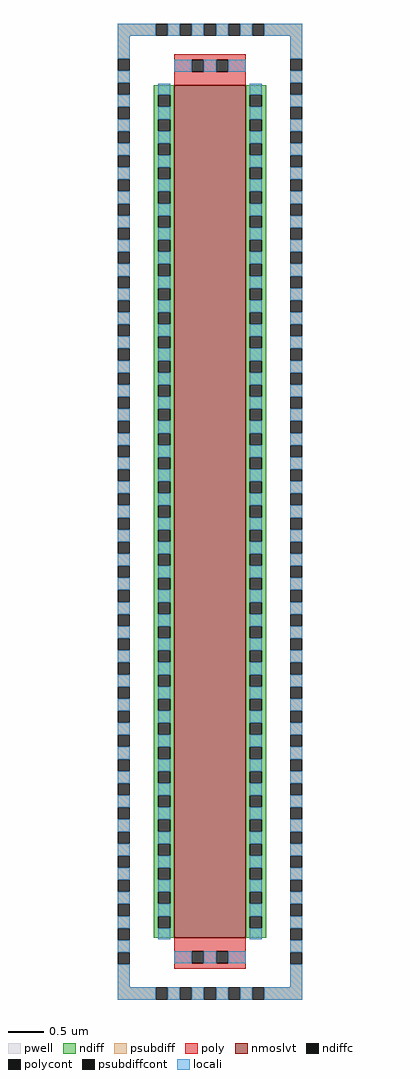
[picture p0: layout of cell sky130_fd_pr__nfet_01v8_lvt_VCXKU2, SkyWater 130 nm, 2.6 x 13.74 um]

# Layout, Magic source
magic
tech sky130A
magscale 1 2
<< pwell >>
rect -260 1340 260 1374
rect -260 -1340 -226 1340
rect 226 -1340 260 1340
rect -260 -1374 260 -1340
<< nmoslvt >>
rect -100 -1200 100 1200
<< ndiff >>
rect -158 1173 -100 1200
rect -158 1139 -146 1173
rect -112 1139 -100 1173
rect -158 1105 -100 1139
rect -158 1071 -146 1105
rect -112 1071 -100 1105
rect -158 1037 -100 1071
rect -158 1003 -146 1037
rect -112 1003 -100 1037
rect -158 969 -100 1003
rect -158 935 -146 969
rect -112 935 -100 969
rect -158 901 -100 935
rect -158 867 -146 901
rect -112 867 -100 901
rect -158 833 -100 867
rect -158 799 -146 833
rect -112 799 -100 833
rect -158 765 -100 799
rect -158 731 -146 765
rect -112 731 -100 765
rect -158 697 -100 731
rect -158 663 -146 697
rect -112 663 -100 697
rect -158 629 -100 663
rect -158 595 -146 629
rect -112 595 -100 629
rect -158 561 -100 595
rect -158 527 -146 561
rect -112 527 -100 561
rect -158 493 -100 527
rect -158 459 -146 493
rect -112 459 -100 493
rect -158 425 -100 459
rect -158 391 -146 425
rect -112 391 -100 425
rect -158 357 -100 391
rect -158 323 -146 357
rect -112 323 -100 357
rect -158 289 -100 323
rect -158 255 -146 289
rect -112 255 -100 289
rect -158 221 -100 255
rect -158 187 -146 221
rect -112 187 -100 221
rect -158 153 -100 187
rect -158 119 -146 153
rect -112 119 -100 153
rect -158 85 -100 119
rect -158 51 -146 85
rect -112 51 -100 85
rect -158 17 -100 51
rect -158 -17 -146 17
rect -112 -17 -100 17
rect -158 -51 -100 -17
rect -158 -85 -146 -51
rect -112 -85 -100 -51
rect -158 -119 -100 -85
rect -158 -153 -146 -119
rect -112 -153 -100 -119
rect -158 -187 -100 -153
rect -158 -221 -146 -187
rect -112 -221 -100 -187
rect -158 -255 -100 -221
rect -158 -289 -146 -255
rect -112 -289 -100 -255
rect -158 -323 -100 -289
rect -158 -357 -146 -323
rect -112 -357 -100 -323
rect -158 -391 -100 -357
rect -158 -425 -146 -391
rect -112 -425 -100 -391
rect -158 -459 -100 -425
rect -158 -493 -146 -459
rect -112 -493 -100 -459
rect -158 -527 -100 -493
rect -158 -561 -146 -527
rect -112 -561 -100 -527
rect -158 -595 -100 -561
rect -158 -629 -146 -595
rect -112 -629 -100 -595
rect -158 -663 -100 -629
rect -158 -697 -146 -663
rect -112 -697 -100 -663
rect -158 -731 -100 -697
rect -158 -765 -146 -731
rect -112 -765 -100 -731
rect -158 -799 -100 -765
rect -158 -833 -146 -799
rect -112 -833 -100 -799
rect -158 -867 -100 -833
rect -158 -901 -146 -867
rect -112 -901 -100 -867
rect -158 -935 -100 -901
rect -158 -969 -146 -935
rect -112 -969 -100 -935
rect -158 -1003 -100 -969
rect -158 -1037 -146 -1003
rect -112 -1037 -100 -1003
rect -158 -1071 -100 -1037
rect -158 -1105 -146 -1071
rect -112 -1105 -100 -1071
rect -158 -1139 -100 -1105
rect -158 -1173 -146 -1139
rect -112 -1173 -100 -1139
rect -158 -1200 -100 -1173
rect 100 1173 158 1200
rect 100 1139 112 1173
rect 146 1139 158 1173
rect 100 1105 158 1139
rect 100 1071 112 1105
rect 146 1071 158 1105
rect 100 1037 158 1071
rect 100 1003 112 1037
rect 146 1003 158 1037
rect 100 969 158 1003
rect 100 935 112 969
rect 146 935 158 969
rect 100 901 158 935
rect 100 867 112 901
rect 146 867 158 901
rect 100 833 158 867
rect 100 799 112 833
rect 146 799 158 833
rect 100 765 158 799
rect 100 731 112 765
rect 146 731 158 765
rect 100 697 158 731
rect 100 663 112 697
rect 146 663 158 697
rect 100 629 158 663
rect 100 595 112 629
rect 146 595 158 629
rect 100 561 158 595
rect 100 527 112 561
rect 146 527 158 561
rect 100 493 158 527
rect 100 459 112 493
rect 146 459 158 493
rect 100 425 158 459
rect 100 391 112 425
rect 146 391 158 425
rect 100 357 158 391
rect 100 323 112 357
rect 146 323 158 357
rect 100 289 158 323
rect 100 255 112 289
rect 146 255 158 289
rect 100 221 158 255
rect 100 187 112 221
rect 146 187 158 221
rect 100 153 158 187
rect 100 119 112 153
rect 146 119 158 153
rect 100 85 158 119
rect 100 51 112 85
rect 146 51 158 85
rect 100 17 158 51
rect 100 -17 112 17
rect 146 -17 158 17
rect 100 -51 158 -17
rect 100 -85 112 -51
rect 146 -85 158 -51
rect 100 -119 158 -85
rect 100 -153 112 -119
rect 146 -153 158 -119
rect 100 -187 158 -153
rect 100 -221 112 -187
rect 146 -221 158 -187
rect 100 -255 158 -221
rect 100 -289 112 -255
rect 146 -289 158 -255
rect 100 -323 158 -289
rect 100 -357 112 -323
rect 146 -357 158 -323
rect 100 -391 158 -357
rect 100 -425 112 -391
rect 146 -425 158 -391
rect 100 -459 158 -425
rect 100 -493 112 -459
rect 146 -493 158 -459
rect 100 -527 158 -493
rect 100 -561 112 -527
rect 146 -561 158 -527
rect 100 -595 158 -561
rect 100 -629 112 -595
rect 146 -629 158 -595
rect 100 -663 158 -629
rect 100 -697 112 -663
rect 146 -697 158 -663
rect 100 -731 158 -697
rect 100 -765 112 -731
rect 146 -765 158 -731
rect 100 -799 158 -765
rect 100 -833 112 -799
rect 146 -833 158 -799
rect 100 -867 158 -833
rect 100 -901 112 -867
rect 146 -901 158 -867
rect 100 -935 158 -901
rect 100 -969 112 -935
rect 146 -969 158 -935
rect 100 -1003 158 -969
rect 100 -1037 112 -1003
rect 146 -1037 158 -1003
rect 100 -1071 158 -1037
rect 100 -1105 112 -1071
rect 146 -1105 158 -1071
rect 100 -1139 158 -1105
rect 100 -1173 112 -1139
rect 146 -1173 158 -1139
rect 100 -1200 158 -1173
<< ndiffc >>
rect -146 1139 -112 1173
rect -146 1071 -112 1105
rect -146 1003 -112 1037
rect -146 935 -112 969
rect -146 867 -112 901
rect -146 799 -112 833
rect -146 731 -112 765
rect -146 663 -112 697
rect -146 595 -112 629
rect -146 527 -112 561
rect -146 459 -112 493
rect -146 391 -112 425
rect -146 323 -112 357
rect -146 255 -112 289
rect -146 187 -112 221
rect -146 119 -112 153
rect -146 51 -112 85
rect -146 -17 -112 17
rect -146 -85 -112 -51
rect -146 -153 -112 -119
rect -146 -221 -112 -187
rect -146 -289 -112 -255
rect -146 -357 -112 -323
rect -146 -425 -112 -391
rect -146 -493 -112 -459
rect -146 -561 -112 -527
rect -146 -629 -112 -595
rect -146 -697 -112 -663
rect -146 -765 -112 -731
rect -146 -833 -112 -799
rect -146 -901 -112 -867
rect -146 -969 -112 -935
rect -146 -1037 -112 -1003
rect -146 -1105 -112 -1071
rect -146 -1173 -112 -1139
rect 112 1139 146 1173
rect 112 1071 146 1105
rect 112 1003 146 1037
rect 112 935 146 969
rect 112 867 146 901
rect 112 799 146 833
rect 112 731 146 765
rect 112 663 146 697
rect 112 595 146 629
rect 112 527 146 561
rect 112 459 146 493
rect 112 391 146 425
rect 112 323 146 357
rect 112 255 146 289
rect 112 187 146 221
rect 112 119 146 153
rect 112 51 146 85
rect 112 -17 146 17
rect 112 -85 146 -51
rect 112 -153 146 -119
rect 112 -221 146 -187
rect 112 -289 146 -255
rect 112 -357 146 -323
rect 112 -425 146 -391
rect 112 -493 146 -459
rect 112 -561 146 -527
rect 112 -629 146 -595
rect 112 -697 146 -663
rect 112 -765 146 -731
rect 112 -833 146 -799
rect 112 -901 146 -867
rect 112 -969 146 -935
rect 112 -1037 146 -1003
rect 112 -1105 146 -1071
rect 112 -1173 146 -1139
<< psubdiff >>
rect -260 1340 -153 1374
rect -119 1340 -85 1374
rect -51 1340 -17 1374
rect 17 1340 51 1374
rect 85 1340 119 1374
rect 153 1340 260 1374
rect -260 1275 -226 1340
rect -260 1207 -226 1241
rect 226 1275 260 1340
rect 226 1207 260 1241
rect -260 1139 -226 1173
rect -260 1071 -226 1105
rect -260 1003 -226 1037
rect -260 935 -226 969
rect -260 867 -226 901
rect -260 799 -226 833
rect -260 731 -226 765
rect -260 663 -226 697
rect -260 595 -226 629
rect -260 527 -226 561
rect -260 459 -226 493
rect -260 391 -226 425
rect -260 323 -226 357
rect -260 255 -226 289
rect -260 187 -226 221
rect -260 119 -226 153
rect -260 51 -226 85
rect -260 -17 -226 17
rect -260 -85 -226 -51
rect -260 -153 -226 -119
rect -260 -221 -226 -187
rect -260 -289 -226 -255
rect -260 -357 -226 -323
rect -260 -425 -226 -391
rect -260 -493 -226 -459
rect -260 -561 -226 -527
rect -260 -629 -226 -595
rect -260 -697 -226 -663
rect -260 -765 -226 -731
rect -260 -833 -226 -799
rect -260 -901 -226 -867
rect -260 -969 -226 -935
rect -260 -1037 -226 -1003
rect -260 -1105 -226 -1071
rect -260 -1173 -226 -1139
rect 226 1139 260 1173
rect 226 1071 260 1105
rect 226 1003 260 1037
rect 226 935 260 969
rect 226 867 260 901
rect 226 799 260 833
rect 226 731 260 765
rect 226 663 260 697
rect 226 595 260 629
rect 226 527 260 561
rect 226 459 260 493
rect 226 391 260 425
rect 226 323 260 357
rect 226 255 260 289
rect 226 187 260 221
rect 226 119 260 153
rect 226 51 260 85
rect 226 -17 260 17
rect 226 -85 260 -51
rect 226 -153 260 -119
rect 226 -221 260 -187
rect 226 -289 260 -255
rect 226 -357 260 -323
rect 226 -425 260 -391
rect 226 -493 260 -459
rect 226 -561 260 -527
rect 226 -629 260 -595
rect 226 -697 260 -663
rect 226 -765 260 -731
rect 226 -833 260 -799
rect 226 -901 260 -867
rect 226 -969 260 -935
rect 226 -1037 260 -1003
rect 226 -1105 260 -1071
rect 226 -1173 260 -1139
rect -260 -1241 -226 -1207
rect -260 -1340 -226 -1275
rect 226 -1241 260 -1207
rect 226 -1340 260 -1275
rect -260 -1374 -153 -1340
rect -119 -1374 -85 -1340
rect -51 -1374 -17 -1340
rect 17 -1374 51 -1340
rect 85 -1374 119 -1340
rect 153 -1374 260 -1340
<< psubdiffcont >>
rect -153 1340 -119 1374
rect -85 1340 -51 1374
rect -17 1340 17 1374
rect 51 1340 85 1374
rect 119 1340 153 1374
rect -260 1241 -226 1275
rect -260 1173 -226 1207
rect 226 1241 260 1275
rect -260 1105 -226 1139
rect -260 1037 -226 1071
rect -260 969 -226 1003
rect -260 901 -226 935
rect -260 833 -226 867
rect -260 765 -226 799
rect -260 697 -226 731
rect -260 629 -226 663
rect -260 561 -226 595
rect -260 493 -226 527
rect -260 425 -226 459
rect -260 357 -226 391
rect -260 289 -226 323
rect -260 221 -226 255
rect -260 153 -226 187
rect -260 85 -226 119
rect -260 17 -226 51
rect -260 -51 -226 -17
rect -260 -119 -226 -85
rect -260 -187 -226 -153
rect -260 -255 -226 -221
rect -260 -323 -226 -289
rect -260 -391 -226 -357
rect -260 -459 -226 -425
rect -260 -527 -226 -493
rect -260 -595 -226 -561
rect -260 -663 -226 -629
rect -260 -731 -226 -697
rect -260 -799 -226 -765
rect -260 -867 -226 -833
rect -260 -935 -226 -901
rect -260 -1003 -226 -969
rect -260 -1071 -226 -1037
rect -260 -1139 -226 -1105
rect -260 -1207 -226 -1173
rect 226 1173 260 1207
rect 226 1105 260 1139
rect 226 1037 260 1071
rect 226 969 260 1003
rect 226 901 260 935
rect 226 833 260 867
rect 226 765 260 799
rect 226 697 260 731
rect 226 629 260 663
rect 226 561 260 595
rect 226 493 260 527
rect 226 425 260 459
rect 226 357 260 391
rect 226 289 260 323
rect 226 221 260 255
rect 226 153 260 187
rect 226 85 260 119
rect 226 17 260 51
rect 226 -51 260 -17
rect 226 -119 260 -85
rect 226 -187 260 -153
rect 226 -255 260 -221
rect 226 -323 260 -289
rect 226 -391 260 -357
rect 226 -459 260 -425
rect 226 -527 260 -493
rect 226 -595 260 -561
rect 226 -663 260 -629
rect 226 -731 260 -697
rect 226 -799 260 -765
rect 226 -867 260 -833
rect 226 -935 260 -901
rect 226 -1003 260 -969
rect 226 -1071 260 -1037
rect 226 -1139 260 -1105
rect -260 -1275 -226 -1241
rect 226 -1207 260 -1173
rect 226 -1275 260 -1241
rect -153 -1374 -119 -1340
rect -85 -1374 -51 -1340
rect -17 -1374 17 -1340
rect 51 -1374 85 -1340
rect 119 -1374 153 -1340
<< poly >>
rect -100 1272 100 1288
rect -100 1238 -51 1272
rect -17 1238 17 1272
rect 51 1238 100 1272
rect -100 1200 100 1238
rect -100 -1238 100 -1200
rect -100 -1272 -51 -1238
rect -17 -1272 17 -1238
rect 51 -1272 100 -1238
rect -100 -1288 100 -1272
<< polycont >>
rect -51 1238 -17 1272
rect 17 1238 51 1272
rect -51 -1272 -17 -1238
rect 17 -1272 51 -1238
<< locali >>
rect -260 1340 -153 1374
rect -119 1340 -85 1374
rect -51 1340 -17 1374
rect 17 1340 51 1374
rect 85 1340 119 1374
rect 153 1340 260 1374
rect -260 1275 -226 1340
rect 226 1275 260 1340
rect -260 1207 -226 1241
rect -100 1238 -51 1272
rect -17 1238 17 1272
rect 51 1238 100 1272
rect 226 1207 260 1241
rect -260 1139 -226 1173
rect -260 1071 -226 1105
rect -260 1003 -226 1037
rect -260 935 -226 969
rect -260 867 -226 901
rect -260 799 -226 833
rect -260 731 -226 765
rect -260 663 -226 697
rect -260 595 -226 629
rect -260 527 -226 561
rect -260 459 -226 493
rect -260 391 -226 425
rect -260 323 -226 357
rect -260 255 -226 289
rect -260 187 -226 221
rect -260 119 -226 153
rect -260 51 -226 85
rect -260 -17 -226 17
rect -260 -85 -226 -51
rect -260 -153 -226 -119
rect -260 -221 -226 -187
rect -260 -289 -226 -255
rect -260 -357 -226 -323
rect -260 -425 -226 -391
rect -260 -493 -226 -459
rect -260 -561 -226 -527
rect -260 -629 -226 -595
rect -260 -697 -226 -663
rect -260 -765 -226 -731
rect -260 -833 -226 -799
rect -260 -901 -226 -867
rect -260 -969 -226 -935
rect -260 -1037 -226 -1003
rect -260 -1105 -226 -1071
rect -260 -1173 -226 -1139
rect -146 1173 -112 1204
rect -146 1105 -112 1139
rect -146 1037 -112 1071
rect -146 969 -112 1003
rect -146 901 -112 935
rect -146 833 -112 867
rect -146 765 -112 799
rect -146 697 -112 731
rect -146 629 -112 663
rect -146 561 -112 595
rect -146 493 -112 527
rect -146 425 -112 459
rect -146 357 -112 391
rect -146 289 -112 323
rect -146 221 -112 255
rect -146 153 -112 187
rect -146 85 -112 119
rect -146 17 -112 51
rect -146 -51 -112 -17
rect -146 -119 -112 -85
rect -146 -187 -112 -153
rect -146 -255 -112 -221
rect -146 -323 -112 -289
rect -146 -391 -112 -357
rect -146 -459 -112 -425
rect -146 -527 -112 -493
rect -146 -595 -112 -561
rect -146 -663 -112 -629
rect -146 -731 -112 -697
rect -146 -799 -112 -765
rect -146 -867 -112 -833
rect -146 -935 -112 -901
rect -146 -1003 -112 -969
rect -146 -1071 -112 -1037
rect -146 -1139 -112 -1105
rect -146 -1204 -112 -1173
rect 112 1173 146 1204
rect 112 1105 146 1139
rect 112 1037 146 1071
rect 112 969 146 1003
rect 112 901 146 935
rect 112 833 146 867
rect 112 765 146 799
rect 112 697 146 731
rect 112 629 146 663
rect 112 561 146 595
rect 112 493 146 527
rect 112 425 146 459
rect 112 357 146 391
rect 112 289 146 323
rect 112 221 146 255
rect 112 153 146 187
rect 112 85 146 119
rect 112 17 146 51
rect 112 -51 146 -17
rect 112 -119 146 -85
rect 112 -187 146 -153
rect 112 -255 146 -221
rect 112 -323 146 -289
rect 112 -391 146 -357
rect 112 -459 146 -425
rect 112 -527 146 -493
rect 112 -595 146 -561
rect 112 -663 146 -629
rect 112 -731 146 -697
rect 112 -799 146 -765
rect 112 -867 146 -833
rect 112 -935 146 -901
rect 112 -1003 146 -969
rect 112 -1071 146 -1037
rect 112 -1139 146 -1105
rect 112 -1204 146 -1173
rect 226 1139 260 1173
rect 226 1071 260 1105
rect 226 1003 260 1037
rect 226 935 260 969
rect 226 867 260 901
rect 226 799 260 833
rect 226 731 260 765
rect 226 663 260 697
rect 226 595 260 629
rect 226 527 260 561
rect 226 459 260 493
rect 226 391 260 425
rect 226 323 260 357
rect 226 255 260 289
rect 226 187 260 221
rect 226 119 260 153
rect 226 51 260 85
rect 226 -17 260 17
rect 226 -85 260 -51
rect 226 -153 260 -119
rect 226 -221 260 -187
rect 226 -289 260 -255
rect 226 -357 260 -323
rect 226 -425 260 -391
rect 226 -493 260 -459
rect 226 -561 260 -527
rect 226 -629 260 -595
rect 226 -697 260 -663
rect 226 -765 260 -731
rect 226 -833 260 -799
rect 226 -901 260 -867
rect 226 -969 260 -935
rect 226 -1037 260 -1003
rect 226 -1105 260 -1071
rect 226 -1173 260 -1139
rect -260 -1241 -226 -1207
rect -100 -1272 -51 -1238
rect -17 -1272 17 -1238
rect 51 -1272 100 -1238
rect 226 -1241 260 -1207
rect -260 -1340 -226 -1275
rect 226 -1340 260 -1275
rect -260 -1374 -153 -1340
rect -119 -1374 -85 -1340
rect -51 -1374 -17 -1340
rect 17 -1374 51 -1340
rect 85 -1374 119 -1340
rect 153 -1374 260 -1340
<< properties >>
string FIXED_BBOX -242 -1356 242 1356
<< end >>
